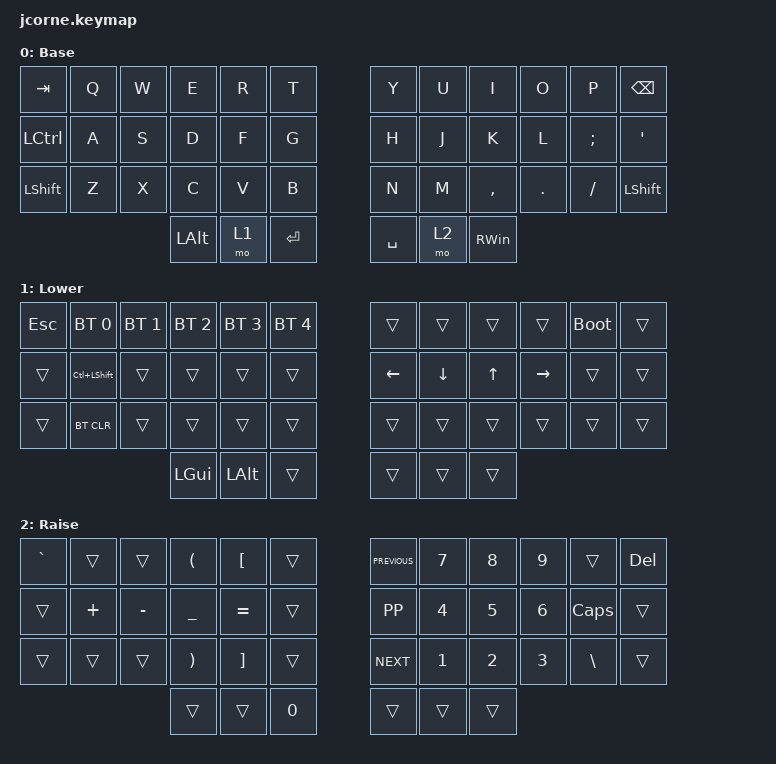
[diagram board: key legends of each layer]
/*
 * Copyright (c) 2020 The ZMK Contributors
 *
 * SPDX-License-Identifier: MIT
 */

#include <behaviors.dtsi>
#include <dt-bindings/zmk/keys.h>
#include <dt-bindings/zmk/bt.h>

/ {
    keymap {
        compatible = "zmk,keymap";

        default_layer {
            // -----------------------------------------------------------------------------------------
            // |  TAB |  Q  |  W  |  E  |  R  |  T  |   |  Y  |  U   |  I  |  O  |  P  | BKSP |
            // | CTRL |  A  |  S  |  D  |  F  |  G  |   |  H  |  J   |  K  |  L  |  ;  |  '   |
            // | SHFT |  Z  |  X  |  C  |  V  |  B  |   |  N  |  M   |  ,  |  .  |  /  | ESC  |
            //                    | GUI | LWR | SPC |   | ENT | RSE  | ALT |

            label = "Base";
            bindings = <
&kp TAB    &kp Q  &kp W  &kp E         &kp R  &kp T        &kp Y      &kp U  &kp I          &kp O    &kp P     &kp BSPC
&kp LCTRL  &kp A  &kp S  &kp D         &kp F  &kp G        &kp H      &kp J  &kp K          &kp L    &kp SEMI  &kp SQT
&kp LSHFT  &kp Z  &kp X  &kp C         &kp V  &kp B        &kp N      &kp M  &kp COMMA      &kp DOT  &kp FSLH  &kp LEFT_SHIFT
                         &kp LEFT_ALT  &mo 1  &kp ENTER    &kp SPACE  &mo 2  &kp RIGHT_WIN
            >;
        };

        lower_layer {
            // -----------------------------------------------------------------------------------------
            // |  TAB |  1  |  2  |  3  |  4  |  5  |   |  6  |  7  |  8  |  9  |  0  | BKSP |
            // | BTCLR| BT1 | BT2 | BT3 | BT4 | BT5 |   | LFT | DWN |  UP | RGT |     |      |
            // | SHFT |     |     |     |     |     |   |     |     |     |     |     |      |
            //                    | GUI |     | SPC |   | ENT |     | ALT |

            label = "Lower";
            bindings = <
&kp ESCAPE  &bt BT_SEL 0        &bt BT_SEL 1  &bt BT_SEL 2  &bt BT_SEL 3  &bt BT_SEL 4    &trans    &trans    &trans  &trans     &bootloader  &trans
&trans      &kp LC(LEFT_SHIFT)  &trans        &trans        &trans        &trans          &kp LEFT  &kp DOWN  &kp UP  &kp RIGHT  &trans       &trans
&trans      &bt BT_CLR          &trans        &trans        &trans        &trans          &trans    &trans    &trans  &trans     &trans       &trans
                                              &kp LGUI      &kp LEFT_ALT  &trans          &trans    &trans    &trans
            >;
        };

        raise_layer {
            // -----------------------------------------------------------------------------------------
            // |  TAB |  !  |  @  |  #  |  $  |  %  |   |  ^  |  &  |  *  |  (  |  )  | BKSP |
            // | CTRL |     |     |     |     |     |   |  -  |  =  |  [  |  ]  |  \  |  `   |
            // | SHFT |     |     |     |     |     |   |  _  |  +  |  {  |  }  | "|" |  ~   |
            //                    | GUI |     | SPC |   | ENT |     | ALT |

            label = "Raise";
            bindings = <
&kp GRAVE  &trans    &trans     &kp LEFT_PARENTHESIS   &kp LEFT_BRACKET   &trans          &kp K_PREVIOUS  &kp NUMBER_7  &kp NUMBER_8  &kp NUMBER_9  &trans         &kp DEL
&trans     &kp PLUS  &kp MINUS  &kp UNDERSCORE         &kp EQUAL          &trans          &kp K_PP        &kp NUMBER_4  &kp NUMBER_5  &kp NUMBER_6  &kp CAPS       &trans
&trans     &trans    &trans     &kp RIGHT_PARENTHESIS  &kp RIGHT_BRACKET  &trans          &kp C_NEXT      &kp NUMBER_1  &kp NUMBER_2  &kp NUMBER_3  &kp BACKSLASH  &trans
                                &trans                 &trans             &kp NUMBER_0    &trans          &trans        &trans
            >;
        };
    };
};
